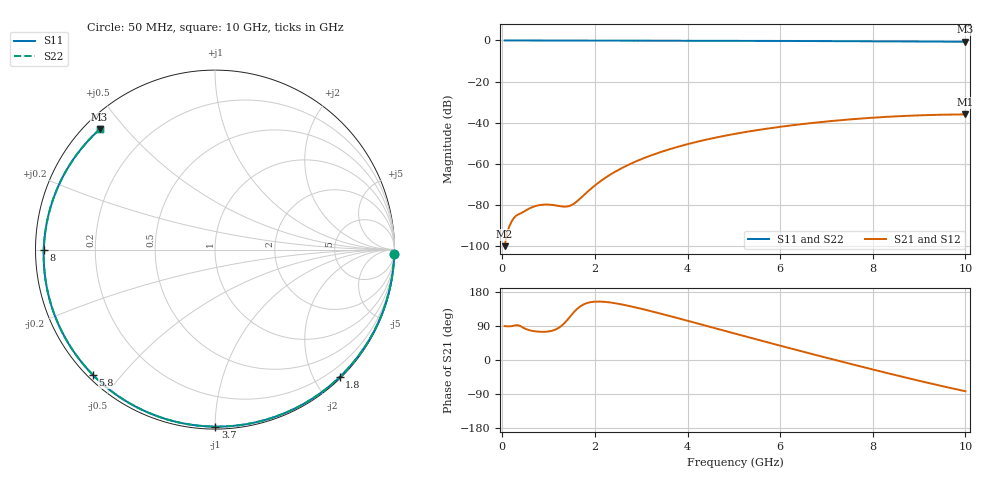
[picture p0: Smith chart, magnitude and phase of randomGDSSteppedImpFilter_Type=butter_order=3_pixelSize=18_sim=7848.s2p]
! freq	dB(S11)	phase(S11)	dB(S12)	phase(S12)
!  dB(S21)	phase(S21)	dB(S22)	phase(S22)
!S-par simulation data
#  GHz  S  DB  R 50
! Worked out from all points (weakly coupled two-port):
!   200 points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, 50 MHz to 10 GHz, reference 50 ohm
!   highest |S21| = -36.01 dB at 10 GHz (marker M1); lowest = -100.2 dB at 50 MHz (marker M2)
!   lowest |S11| = -0.6 dB at 10 GHz (marker M3), VSWR 26.93, Z = 2.19 + j21.3 ohm
!   |S11| at or under -10 dB: nowhere
!   |S22| runs from -0.6 to 0.0 dB; largest |S21 - S12| = 0
!   S11 on the Smith chart (normalised r, x): 50 MHz: 1, -91; 1.8 GHz: 0.02, -2.38; 3.7 GHz: 0.01, -1.00; 5.8 GHz: 0.02, -0.42; 8 GHz: 0.02, -0.00; 10 GHz: 0.04, +0.43
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0.05  -0.00 -1.3  -100.19 89.4  -100.19 89.4  -0.00 -1.3
0.75  -0.03 -19.3  -80.45 75.1  -80.45 75.1  -0.03 -19.3
1.5  -0.05 -38.2  -80.12 119.8  -80.12 119.8  -0.05 -38.2
1.6  -0.05 -40.7  -78.60 133.1  -78.60 133.1  -0.05 -40.7
1.75  -0.06 -44.4  -75.57 146.3  -75.57 146.3  -0.06 -44.4
1.8  -0.06 -45.6  -74.52 149.0  -74.52 149.0  -0.06 -45.6
2.15  -0.07 -54.1  -68.06 154.0  -68.06 154.0  -0.07 -54.1
2.5  -0.08 -62.5  -63.14 148.5  -63.14 148.5  -0.08 -62.5
2.9  -0.09 -71.8  -58.78 138.1  -58.78 138.1  -0.09 -71.8
3.4  -0.11 -83.2  -54.51 123.0  -54.51 123.0  -0.11 -83.2
3.7  -0.12 -89.9  -52.38 113.4  -52.38 113.4  -0.12 -89.9
4.35  -0.15 -104.1  -48.58 92.0  -48.58 92.0  -0.15 -104.0
5.05  -0.18 -118.8  -45.38 68.8  -45.38 68.8  -0.18 -118.8
5.8  -0.22 -134.3  -42.68 44.3  -42.68 44.3  -0.22 -134.3
6.7  -0.29 -152.7  -40.17 15.4  -40.17 15.4  -0.29 -152.7
7.35  -0.34 -166.1  -38.74 -5.0  -38.74 -5.0  -0.34 -166.1
8  -0.41 -179.8  -37.62 -25.0  -37.62 -25.0  -0.41 -179.8
8.35  -0.44 172.6  -37.14 -35.6  -37.14 -35.6  -0.44 172.6
8.8  -0.50 162.5  -36.65 -49.0  -36.65 -49.0  -0.50 162.6
9.2  -0.54 153.3  -36.33 -60.6  -36.33 -60.6  -0.54 153.4
9.6  -0.59 143.7  -36.12 -71.7  -36.12 -71.7  -0.59 143.8
10  -0.65 133.8  -36.01 -82.4  -36.01 -82.4  -0.65 133.9
